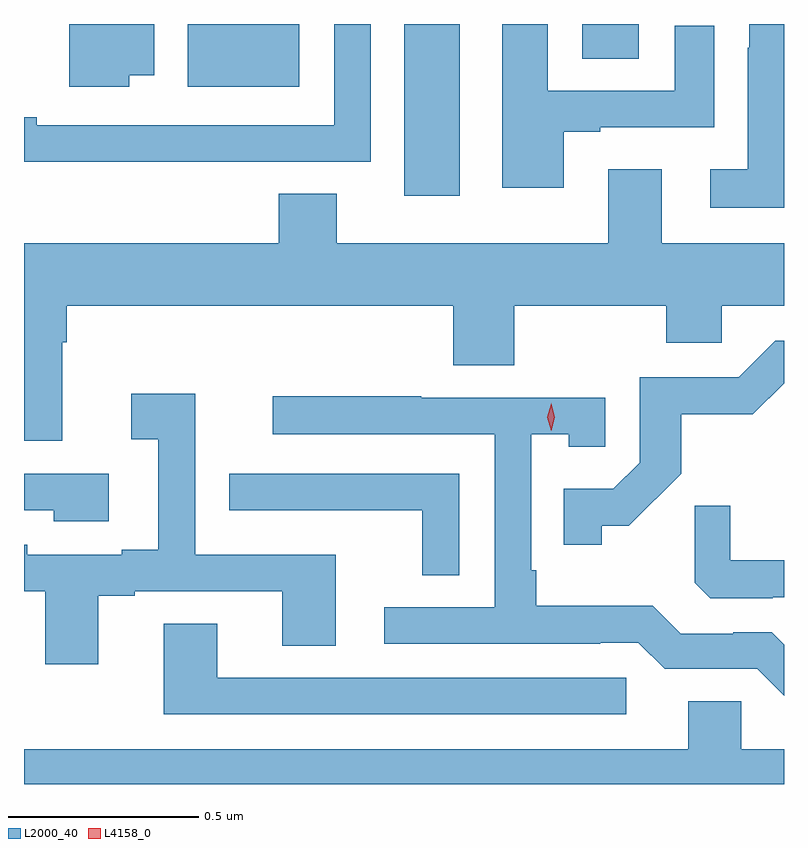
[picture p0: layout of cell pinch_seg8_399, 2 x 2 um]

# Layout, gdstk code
import gdstk
lib = gdstk.Library(unit=1e-6, precision=1e-09)
def R(c, l, rs):  # rectangles x0, y0, x1, y1
    for r in rs: c.add(gdstk.rectangle(r[:2], r[2:], *l))
def P(c, l, *ps):  # polygons
    for p in ps: c.add(gdstk.Polygon(p, *l))
L2000_40 = (2000, 40)
L4158_0 = (4158, 0)

pinch_seg8_399 = lib.new_cell('pinch_seg8_399')
R(pinch_seg8_399, L2000_40, [(535.19,1083.489,535.336,1083.941), (534.62,1083.776,534.913,1083.941), (535.658,1083.85,535.807,1083.941)])
P(pinch_seg8_399, L2000_40, [(535.609,1083.657),(535.705,1083.657),(535.705,1083.669),(536.005,1083.669),(536.005,1083.937),(535.901,1083.937),(535.901,1083.765),(535.567,1083.765),(535.567,1083.941),(535.448,1083.941),(535.448,1083.51),(535.609,1083.51)],
  [(534.776,1083.579),(535.101,1083.579),(535.101,1083.941),(535.005,1083.941),(535.005,1083.675),(534.223,1083.675),(534.223,1083.695),(534.189,1083.695),(534.189,1083.578),(534.776,1083.578)],
  [(534.466,1083.806),(534.532,1083.806),(534.532,1083.941),(534.308,1083.941),(534.308,1083.776),(534.466,1083.776)],
  [(536.189,1083.941),(536.097,1083.941),(536.097,1083.878),(536.093,1083.878),(536.093,1083.559),(535.995,1083.559),(535.995,1083.458),(536.189,1083.458)],
  [(535.867,1083.559),(535.727,1083.559),(535.727,1083.364),(535.012,1083.364),(535.012,1083.494),(534.86,1083.494),(534.86,1083.364),(534.189,1083.364),(534.189,1082.844),(534.289,1082.844),(534.289,1083.104),(534.302,1083.104),(534.302,1083.2),(535.319,1083.2),(535.319,1083.043),(535.479,1083.043),(535.479,1083.2),(535.879,1083.2),(535.879,1083.102),(536.025,1083.102),(536.025,1083.2),(536.189,1083.2),(536.189,1083.364),(535.867,1083.364)],
  [(535.71,1082.621),(535.78,1082.621),(535.918,1082.758),(535.918,1082.914),(536.107,1082.914),(536.189,1082.996),(536.189,1083.108),(536.166,1083.108),(536.07,1083.012),(535.809,1083.012),(535.809,1082.787),(535.74,1082.718),(535.609,1082.718),(535.609,1082.571),(535.71,1082.571)],
  [(534.385,1082.436),(534.481,1082.436),(534.481,1082.448),(534.869,1082.448),(534.869,1082.305),(535.009,1082.305),(535.009,1082.544),(534.639,1082.544),(534.639,1082.968),(534.471,1082.968),(534.471,1082.848),(534.542,1082.848),(534.542,1082.557),(534.446,1082.557),(534.446,1082.544),(534.198,1082.544),(534.198,1082.571),(534.189,1082.571),(534.189,1082.448),(534.245,1082.448),(534.245,1082.256),(534.385,1082.256)],
  [(536.189,1082.308),(536.157,1082.34),(536.056,1082.34),(536.056,1082.337),(535.917,1082.337),(535.844,1082.41),(535.537,1082.41),(535.537,1082.503),(535.524,1082.503),(535.524,1082.861),(535.623,1082.861),(535.623,1082.829),(535.719,1082.829),(535.719,1082.958),(535.235,1082.958),(535.235,1082.961),(534.843,1082.961),(534.843,1082.862),(535.428,1082.862),(535.428,1082.406),(535.137,1082.406),(535.137,1082.31),(535.706,1082.31),(535.706,1082.313),(535.806,1082.313),(535.875,1082.244),(536.118,1082.244),(536.189,1082.173)],
  [(534.412,1082.757),(534.189,1082.757),(534.189,1082.661),(534.267,1082.661),(534.267,1082.633),(534.412,1082.633)],
  [(535.335,1082.757),(534.729,1082.757),(534.729,1082.662),(534.841,1082.662),(534.841,1082.661),(535.237,1082.661),(535.237,1082.491),(535.335,1082.491)],
  [(536.16,1082.433),(536.189,1082.433),(536.189,1082.53),(536.048,1082.53),(536.048,1082.673),(535.954,1082.673),(535.954,1082.471),(535.995,1082.43),(536.16,1082.43)],
  [(535.774,1082.22),(534.697,1082.22),(534.697,1082.363),(534.557,1082.363),(534.557,1082.124),(535.774,1082.124)],
  [(536.189,1082.032),(536.076,1082.032),(536.076,1082.159),(535.937,1082.159),(535.937,1082.032),(534.189,1082.032),(534.189,1081.941),(536.189,1081.941)])
P(pinch_seg8_399, L4158_0, [(535.576,1082.87),(535.576,1082.871),(535.566,1082.906),(535.576,1082.942),(535.576,1082.943),(535.576,1082.942),(535.586,1082.906),(535.576,1082.871)])

lib.write_gds('pinch_seg8_399.gds')
